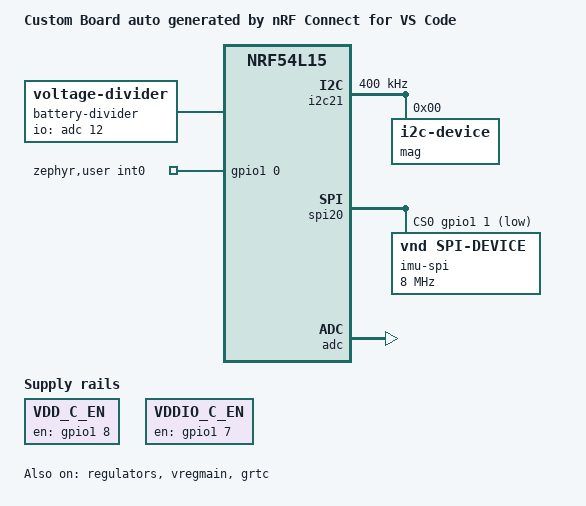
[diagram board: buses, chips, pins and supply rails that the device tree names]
/dts-v1/;
#include <nordic/nrf54l15_cpuapp.dtsi>
#include "test54l-pinctrl.dtsi"
#include <zephyr/dt-bindings/gpio/nordic-nrf-gpio.h>

/ {
	model = "Custom Board auto generated by nRF Connect for VS Code";
	compatible = "nordic,test54l-cpuapp";

	chosen {
		zephyr,code-partition = &slot0_partition;
		zephyr,sram = &cpuapp_sram;
		zephyr,flash = &cpuapp_rram;
	};

	vdd-c-en {
		compatible = "regulator-fixed-sync", "regulator-fixed";
		enable-gpios = <&gpio1 8 (NRF_GPIO_DRIVE_S0H1 | GPIO_ACTIVE_HIGH)>;
		regulator-name = "VDD_C_EN";
		regulator-boot-on;
		regulator-always-on;
		startup-delay-us = <0>;
	};

	vddio-c-en {
		compatible = "regulator-fixed-sync", "regulator-fixed";
		enable-gpios = <&gpio1 7 (NRF_GPIO_DRIVE_S0H1 | GPIO_ACTIVE_HIGH)>;
		regulator-name = "VDDIO_C_EN";
		regulator-boot-on;
		regulator-always-on;
		startup-delay-us = <0>;
	};

	battery-divider {
		compatible = "voltage-divider";
		status = "okay";
		io-channels = <&adc 12>; // Measure VDDHDIV5
		output-ohms = <1>;
		full-ohms = <2>;
	};

	zephyr,user {
		int0-gpios = <&gpio1 0 0>;
	};
};

&cpuapp_sram {
	status = "okay";
};

&regulators {
	status = "okay";
};

&vregmain {
	status = "okay";
	regulator-initial-mode = <NRF5X_REG_MODE_DCDC>;
};

&grtc {
	owned-channels = <0 1 2 3 4 5 6 7 8 9 10 11>;
	/* Channels 7-11 reserved for Zero Latency IRQs, 3-4 for FLPR */
	child-owned-channels = <3 4 7 8 9 10 11>;
	status = "okay";
};

&cpuapp_rram {
	partitions {
		compatible = "fixed-partitions";
		#address-cells = <1>;
		#size-cells = <1>;
		boot_partition: partition@0 {
			label = "mcuboot";
			reg = <0x0 DT_SIZE_K(64)>;
		};
		slot0_partition: partition@10000 {
			label = "image-0";
			reg = <0x10000 DT_SIZE_K(324)>;
		};
		slot0_ns_partition: partition@61000 {
			label = "image-0-nonsecure";
			reg = <0x61000 DT_SIZE_K(324)>;
		};
		slot1_partition: partition@b2000 {
			label = "image-1";
			reg = <0xb2000 DT_SIZE_K(324)>;
		};
		slot1_ns_partition: partition@103000 {
			label = "image-1-nonsecure";
			reg = <0x103000 DT_SIZE_K(324)>;
		};
		/* 32k from 0x154000 to 0x15bfff reserved for TF-M partitions */
		storage_partition: partition@15c000 {
			label = "storage";
			reg = <0x15c000 DT_SIZE_K(36)>;
		};
	};
};

&gpio1 {
	status = "okay";
};

&gpiote20 {
	status = "okay";
};

&clock {
	status = "okay";
};

&i2c21 {
	compatible = "nordic,nrf-twim";
	status = "okay";
	zephyr,concat-buf-size = <1023>;
	zephyr,flash-buf-max-size = <1023>;
	clock-frequency = <I2C_BITRATE_FAST>;
	pinctrl-0 = <&i2c0_default>;
	pinctrl-1 = <&i2c0_sleep>;
	pinctrl-names = "default", "sleep";

	mag: mag@0 {
		compatible = "i2c-device";
		label = "mag";
		reg = <0>;
	};

};

&spi20 {
    compatible = "nordic,nrf-spim";
    status = "okay";
    cs-gpios = <&gpio1 1 GPIO_ACTIVE_LOW>;
    pinctrl-0 = <&spi00_default>;
    pinctrl-1 = <&spi00_sleep>;
    pinctrl-names = "default", "sleep";

	imu_spi: imu_spi@0 {
		compatible = "vnd,spi-device";
		spi-max-frequency = <DT_FREQ_M(8)>;
		label = "imu-spi";
		reg = <0>;
	};
};

&uart20 {
	status = "disabled";
};

&adc {
	status = "okay";
};
